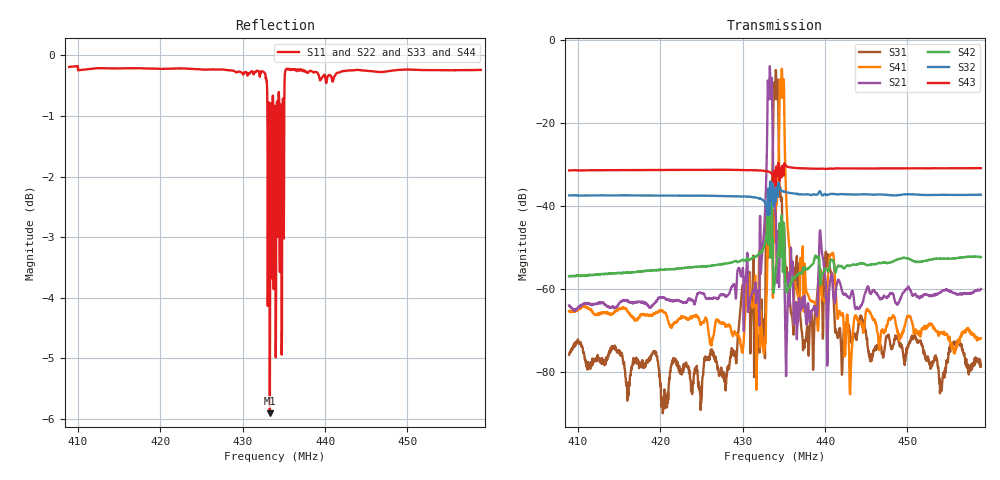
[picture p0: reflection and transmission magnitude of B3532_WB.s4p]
! Matrix data file written by TouchstoneData, EPCOS AG
! FILENAME: "newformat_LZ04A_MB.s4p"
! COMMENT: "(LZ04A_MB.s4p) Epcos AG 31.01.2012 10:19:45"
! INFO: nport=4, nfreq=1601
! DATE: "Tue Jan 31 14:54:21 2012"
! USER: "Wilfried Schott"
! port | pin | signal
!  1  |  1  |  IN
!  2  |  5  |  OUT CH3
!  3  |  6  |  OUT CH1
!  4  |  7  |  OUT CH2
# MHZ S MA R 50
! freq  magS11 angS11  magS12 angS12  magS13 angS13  magS14 angS14  ...
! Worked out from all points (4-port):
!   1601 points, 408.9 MHz to 458.9 MHz, reference 50 ohm
!   strongest paths, dB at 408.9 MHz, 421.4 MHz, 433.9 MHz, 446.4 MHz, 458.9 MHz:
!     S43: -31.4, -31.3, -33.0, -30.9, -30.9
!     S32: -37.4, -37.5, -37.6, -37.2, -37.3
!     S42: -56.9, -55.2, -57.5, -53.8, -52.3
!     S21: -63.9, -63.0, -40.8, -61.5, -60.0
!     S41: -65.3, -68.8, -48.6, -70.9, -71.9
!     S31: -75.8, -78.1, -13.4, -74.1, -78.6
!   lowest |S11| = -5.9 dB at 433.3 MHz (marker M1), VSWR 3.05, Z = 48.6 - j57.9 ohm
!   |S11| at or under -10 dB: nowhere
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408.92  0.9785 -49.0  0.0006272 -133.7  0.0001604 99.3  0.000549 67.0
        0.0006367 -132.2  0.9913 -20.2  0.01343 71.8  0.001435 -157.0
        0.0001616 100.7  0.01343 71.9  0.987 -20.7  0.02692 68.8
        0.0005411 66.9  0.001433 -156.8  0.02693 68.9  0.9875 -20.1
431.7638  0.9717 -54.6  0.0009686 -133.5  0.0001673 -175.2  0.0003274 176.8
          0.0009604 -133.7  0.9889 -22.9  0.01255 70.8  0.002526 -143.5
          0.0001619 -173.0  0.01257 70.9  0.9833 -22.9  0.02687 67.2
          0.00032 176.5  0.002525 -143.5  0.027 67.3  0.984 -21.8
433.295  0.5067 -60.9  0.4861 -35.6  0.01007 -50.3  0.007658 -52.7
         0.4848 -35.6  0.4371 -24.1  0.01713 116.9  0.01008 163.3
         0.0101 -50.4  0.01715 116.8  0.9787 -25.6  0.0255 66.1
         0.007687 -52.8  0.01011 163.2  0.02561 66.3  0.983 -22.8
434.045  0.6175 -35.3  0.006573 -9.7  0.4205 -65.1  0.01087 -55.2
         0.006566 -9.5  0.9876 -17.7  0.0174 96.1  0.001888 -157.3
         0.4212 -65.2  0.0174 96.3  0.6176 -2.9  0.02782 91.7
         0.01096 -55.3  0.001896 -157.8  0.02796 91.8  0.9793 -24.8
434.7638  0.5917 -30.4  0.005805 -73.1  0.01016 9.2  0.4439 -58.6
          0.005768 -73.0  0.9894 -19.6  0.0153 73.0  0.006529 133.1
          0.01016 9.2  0.0153 72.9  0.9848 -18.3  0.02815 87.9
          0.4441 -58.7  0.006554 133.4  0.02817 88.0  0.5787 -2.2
435.3888  0.9751 -45.3  0.0003424 -138.2  0.001332 65.0  0.007222 62.5
          0.0003486 -138.1  0.99 -20.3  0.01463 71.7  0.0009256 165.0
          0.001325 65.2  0.01462 71.7  0.9855 -20.2  0.02986 70.8
          0.007227 62.5  0.0009412 164.2  0.02994 70.8  0.9852 -16.7
458.92  0.973 -54.3  0.0009957 -132.3  0.0001207 -149.6  0.0002446 88.2
        0.001001 -132.4  0.9894 -22.5  0.01367 70.2  0.002428 -145.5
        0.0001172 -152.0  0.0137 70.1  0.9827 -23.2  0.02856 66.7
        0.0002552 87.0  0.002426 -145.3  0.02863 66.8  0.9852 -22.2
